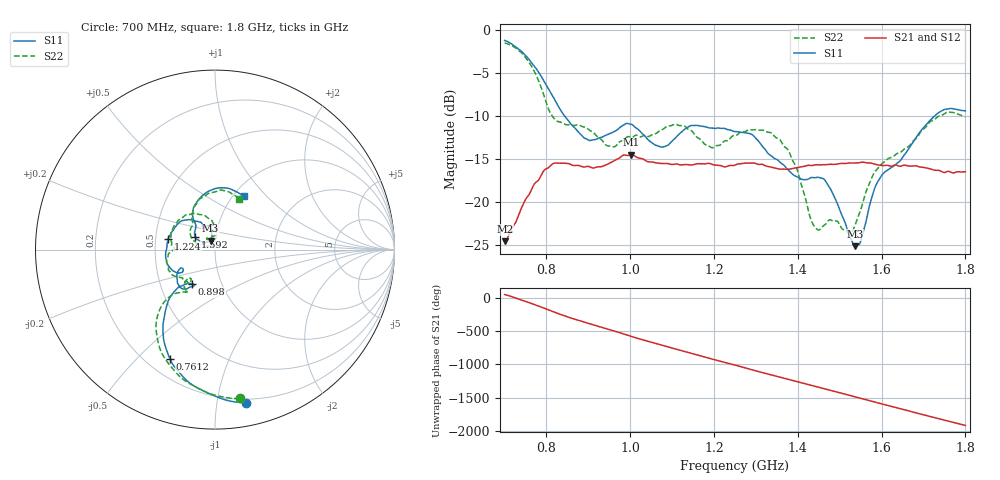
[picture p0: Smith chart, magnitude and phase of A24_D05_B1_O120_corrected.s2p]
! Created with skrf 1.9.0 (http://scikit-rf.org).
# Hz S RI R 50.0
!freq ReS11 ImS11 ReS21 ImS21 ReS12 ImS12 ReS22 ImS22
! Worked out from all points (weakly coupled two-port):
!   1601 points, 700 MHz to 1.8 GHz, reference 50 ohm
!   highest |S21| = -14.51 dB at 1.002 GHz (marker M1); lowest = -24.6 dB at 700.7 MHz (marker M2)
!   lowest |S11| = -25.2 dB at 1.537 GHz (marker M3), VSWR 1.12, Z = 47.4 + j4.69 ohm
!   |S11| at or under -10 dB: 843.1 MHz to 1.727 GHz (883.5 MHz wide, 68.8 % of centre)
!   |S22| runs from -23.7 to -1.5 dB; largest |S21 - S12| = 0.0035
!   S11 on the Smith chart (normalised r, x): 700 MHz: 0.17, -1.21; 761.2 MHz: 0.29, -0.63; 898 MHz: 0.72, -0.29; 1.224 GHz: 0.58, +0.08; 1.592 GHz: 0.79, +0.12; 1.8 GHz: 1.12, +0.75
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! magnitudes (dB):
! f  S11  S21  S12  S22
! 700 MHz  -1.2  -24.6  -24.4  -1.5
! 700.7 MHz  -1.2  -24.6  -24.3  -1.5
! 761.2 MHz  -3.6  -18.9  -18.8  -4.0
! 817.6 MHz  -7.9  -15.5  -15.6  -10.3
! 883.6 MHz  -12.2  -15.9  -15.8  -11.2
! 898 MHz  -12.8  -15.9  -15.9  -11.5
! 948.2 MHz  -12.1  -15.6  -15.6  -13.5
! 1.002 GHz  -11.0  -14.5  -14.6  -12.5
! 1.067 GHz  -13.5  -15.5  -15.5  -11.9
! 1.145 GHz  -11.1  -15.7  -15.7  -11.7
! 1.224 GHz  -11.4  -15.9  -15.9  -12.9
! 1.25 GHz  -11.8  -15.7  -15.7  -12.3
! 1.357 GHz  -15.4  -16.2  -16.1  -12.8
! 1.396 GHz  -17.0  -16.0  -16.0  -16.0
! 1.434 GHz  -17.2  -15.8  -15.7  -22.4
! 1.471 GHz  -18.0  -15.7  -15.7  -22.3
! 1.537 GHz  -25.2  -15.5  -15.5  -22.7
! 1.55 GHz  -24.5  -15.4  -15.4  -20.9
! 1.592 GHz  -17.6  -15.7  -15.7  -16.1
! 1.617 GHz  -16.2  -15.8  -15.8  -14.9
! 1.733 GHz  -9.7  -16.3  -16.4  -10.1
! 1.8 GHz  -9.4  -16.5  -16.5  -10.1
